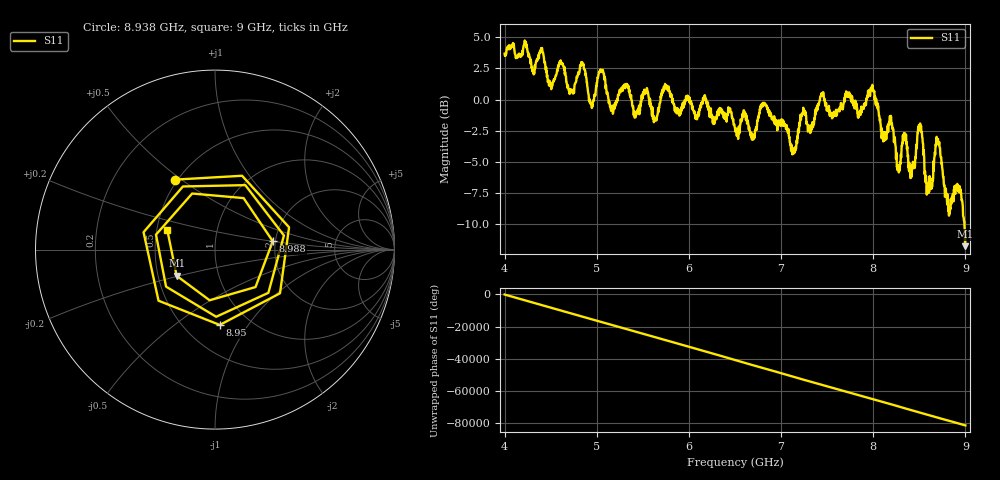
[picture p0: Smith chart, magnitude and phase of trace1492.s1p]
! Created with skrf 1.8.0 (http://scikit-rf.org).
# Hz S RI R 50.0
!freq ReS11 ImS11
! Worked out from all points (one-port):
!   1601 points, 4 GHz to 9 GHz, reference 50 ohm
!   lowest |S11| = -11.7 dB at 8.997 GHz (marker M1), VSWR 1.70, Z = 31.2 - j9.77 ohm
!   |S11| at or under -10 dB: 8.989496 GHz to end of sweep
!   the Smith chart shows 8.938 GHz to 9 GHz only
!   S11 on the Smith chart (normalised r, x): 8.938 GHz: 0.48, +0.47; 8.95 GHz: 0.73, -0.75; 8.988 GHz: 1.94, +0.20; 9 GHz: 0.57, +0.13
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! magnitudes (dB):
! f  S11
! 4 GHz  3.7
! 4.625 GHz  2.8
! 4.728 GHz  0.8
! 4.85 GHz  2.8
! 4.941 GHz  -0.4
! 5.044 GHz  2.3
! 5.156 GHz  -0.9
! 5.25 GHz  0.8
! 5.875 GHz  -0.7
! 6.5 GHz  -2.3
! 6.691 GHz  -3.0
! 6.816 GHz  -0.4
! 7.125 GHz  -3.9
! 7.441 GHz  0.5
! 7.75 GHz  0.3
! 7.994 GHz  0.9
! 8.272 GHz  -5.3
! 8.375 GHz  -4.6
! 8.428 GHz  -5.3
! 8.506 GHz  -2.0
! 8.584 GHz  -6.9
! 8.7 GHz  -3.2
! 8.812 GHz  -8.3
! 8.938 GHz  -6.9
! 8.95 GHz  -7.5
! 8.988 GHz  -9.8
! 8.997 GHz  -11.7
! 9 GHz  -10.9
